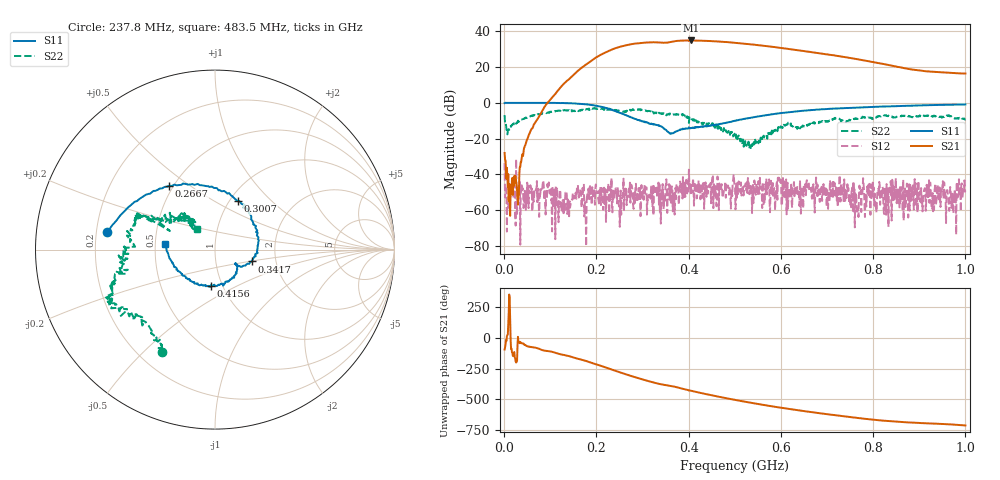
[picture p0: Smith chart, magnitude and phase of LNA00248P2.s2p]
! Created with skrf 1.9.0 (http://scikit-rf.org).
# Hz S RI R 50.0
!freq ReS11 ImS11 ReS21 ImS21 ReS12 ImS12 ReS22 ImS22
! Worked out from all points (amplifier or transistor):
!   1001 points, 1 MHz to 1 GHz, reference 50 ohm
!   highest |S21| = 34.9 dB at 404.6 MHz (marker M1)
!   |S21| within 3 dB of that: 259.7 MHz to 563.1 MHz (303.3 MHz wide, 73.7 % of centre)
!   unconditionally stable (mu >= 1): start of sweep to 83.91 MHz; 258.8 MHz to 400.5 MHz; 400.6 MHz to end of sweep (the widest 3 of 19)
!   at 166.8 MHz: K = 1.24, MAG = 32.5 dB, |S12| = -51.6 dB
!   at 500.5 MHz: K = 2.09, MAG = 34.3 dB, |S12| = -46.7 dB
!   at 1 GHz: K = 4.01, MAG = 23.8 dB, |S12| = -49.2 dB
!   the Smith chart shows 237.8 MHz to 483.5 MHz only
!   S11 on the Smith chart (normalised r, x): 237.8 MHz: 0.24, +0.07; 266.7 MHz: 0.48, +0.42; 300.7 MHz: 1.09, +0.65; 341.7 MHz: 1.50, -0.21; 415.6 MHz: 0.88, -0.37; 483.5 MHz: 0.56, +0.04
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1000000  0.9768 0.00394  -0.00257 -0.0392  -0.02 0.0041  0.3462 0.2893
1.08892e8  0.5124 -0.8478  -0.7852 -1.463  -0.00117 -0.00153  0.4373 -0.3652
1.67833e8  -0.2455 -0.8961  -9.544 -0.5662  -0.00115 0.000132  0.0445 -0.6358
2.07793e8  -0.6743 -0.4078  -15.46 14.97  -0.0011 -0.00132  -0.1793 -0.6591
2.37763e8  -0.6036 0.0967  -4.021 32.38  -0.00273 -0.000229  -0.2977 -0.5692
2.66734e8  -0.2545 0.3555  20.39 36.19  0.000782 0.00227  -0.4537 -0.3794
3.007e8  0.1296 0.2715  44.25 17.8  -0.00201 0.0005  -0.5705 -0.2357
3.18682e8  0.2286 0.1309  49.42 2.98  -0.004 0.00207  -0.557 -0.1356
3.34666e8  0.2378 -0.019  47.9 -10.41  -0.00153 0.00563  -0.4876 -0.0507
3.41659e8  0.2044 -0.0658  46.06 -14.87  -0.00182 0.00338  -0.4826 -0.0232
3.72628e8  0.1247 -0.0954  41.61 -34.05  0.00148 0.00136  -0.4548 0.1588
4.04596e8  0.0357 -0.19  19.9 -51.98  -0.00229 0.00148  -0.3314 0.1702
4.15585e8  -0.024 -0.2037  11.45 -54.11  -0.00133 0.00321  -0.2522 0.2053
4.46554e8  -0.1804 -0.145  -12.5 -52.16  0.00175 0.00399  -0.1664 0.1738
4.83517e8  -0.2782 0.0312  -33.35 -37.39  0.00407 0.00245  -0.1013 0.1152
5.005e8  -0.2872 0.1266  -38.68 -28.49  -0.000907 0.00451  -0.0753 0.0936
5.4046e8  -0.2035 0.3358  -41.84 -7.057  0.0013 -0.000849  -0.0658 -0.00637
5.88412e8  0.0108 0.4905  -33.62 12.71  0.00169 -0.00196  -0.1459 -0.098
6.67333e8  0.3942 0.4867  -11.44 23.28  0.00199 -0.000535  -0.249 -0.0495
7.53247e8  0.6689 0.2726  4.503 17.09  -0.00249 -0.00292  -0.3246 0.0473
8.34166e8  0.7913 0.0132  8.241 7.873  -0.00382 -0.00148  -0.4002 0.133
1e9  0.7153 -0.5427  6.521 0.9676  -0.000158 -0.00348  -0.1061 0.3287
